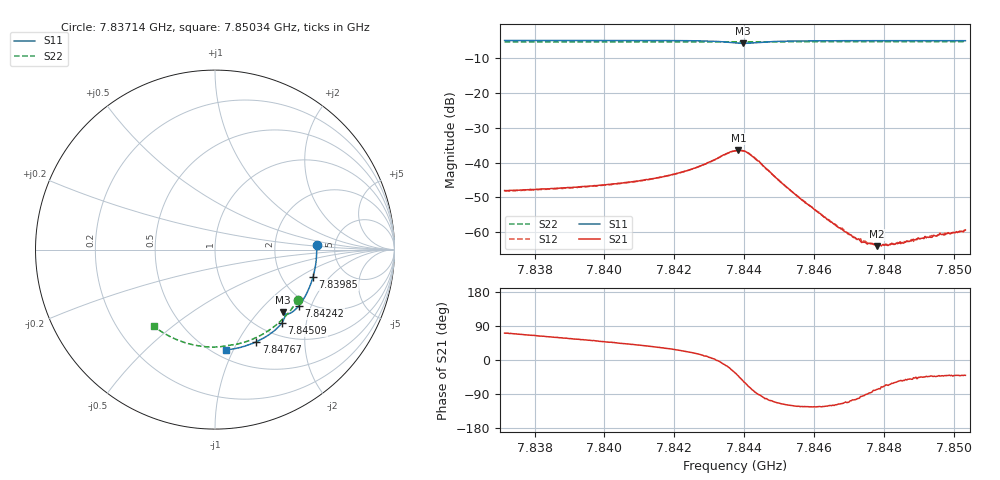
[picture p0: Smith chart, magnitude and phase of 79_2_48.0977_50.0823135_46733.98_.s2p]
#  HZ  S  RI  R  50.00
! Rohde & Schwarz Vector Network Analyzer
! Rohde-Schwarz,ZNB20-2Port,1311601062101988,3.16
! Created: UTC 12/23/2023, 3:42:34 AM
! freq[Hz]  re:S11  im:S11  re:S21  im:S21  re:S12  im:S12  re:S22  im:S22
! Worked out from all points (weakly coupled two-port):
!   401 points, 7.83714 GHz to 7.85034 GHz, reference 50 ohm
!   highest |S21| = -36.46 dB at 7.84384 GHz (marker M1); lowest = -64.0 dB at 7.8478 GHz (marker M2)
!   lowest |S11| = -5.8 dB at 7.84397 GHz (marker M3), VSWR 3.13, Z = 72.4 - j68.8 ohm
!   |S11| at or under -10 dB: nowhere
!   |S22| runs from -5.4 to -5.3 dB; largest |S21 - S12| = 0.00036
!   S11 on the Smith chart (normalised r, x): 7.83714 GHz: 3.59, +0.27; 7.83985 GHz: 2.96, -1.33; 7.84242 GHz: 1.79, -1.64; 7.84509 GHz: 1.24, -1.46; 7.84767 GHz: 0.80, -1.20; 7.85034 GHz: 0.57, -0.93
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7.837139e9  0.5657 0.026  0.0013 0.00375  0.0013 0.0037  0.4621 -0.2787
7.83935e9  0.5541 -0.1205  0.00268 0.00364  0.00264 0.00357  0.3649 -0.3988
7.839845e9  0.546 -0.1528  0.00308 0.00359  0.00303 0.00358  0.3386 -0.4214
7.841561e9  0.5017 -0.2613  0.00512 0.00337  0.00504 0.00335  0.2375 -0.4865
7.842419e9  0.4673 -0.3129  0.0073 0.00281  0.00726 0.00283  0.1819 -0.51
7.843244e9  0.4183 -0.3547  0.0115 -0.000338  0.0115 -0.000255  0.1261 -0.5258
7.843739e9  0.383 -0.3562  0.0123 -0.0082  0.0122 -0.00816  0.0928 -0.5311
7.843838e9  0.3794 -0.3529  0.0111 -0.0101  0.011 -0.0102  0.0866 -0.5318
7.84397e9  0.3789 -0.3491  0.00844 -0.0121  0.00849 -0.012  0.0782 -0.5334
7.844102e9  0.382 -0.3482  0.00524 -0.0128  0.00539 -0.0128  0.0701 -0.535
7.844267e9  0.387 -0.353  0.00193 -0.0119  0.00188 -0.012  0.0593 -0.5369
7.845091e9  0.3733 -0.4074  -0.00221 -0.0045  -0.00216 -0.00451  0.00181 -0.5427
7.845949e9  0.3303 -0.4521  -0.00126 -0.00187  -0.00127 -0.0019  -0.0587 -0.5406
7.846543e9  0.2971 -0.4767  -0.000651 -0.00118  -0.000652 -0.00118  -0.1001 -0.5349
7.84717e9  0.2605 -0.4986  -0.000212 -0.00081  -0.000222 -0.000817  -0.1431 -0.5254
7.847401e9  0.2466 -0.5058  -6.02e-05 -0.000721  -0.000112 -0.000775  -0.1587 -0.521
7.847665e9  0.2303 -0.5136  7.11e-05 -0.000691  5.45e-05 -0.000675  -0.1765 -0.5154
7.847797e9  0.2222 -0.5172  0.000135 -0.000617  0.000112 -0.000627  -0.1853 -0.5125
7.84816e9  0.1996 -0.5264  0.000284 -0.000602  0.000272 -0.000596  -0.2091 -0.5034
7.848688e9  0.1663 -0.5378  0.000474 -0.00058  0.000441 -0.000588  -0.2429 -0.4883
7.849414e9  0.1195 -0.5501  0.000644 -0.00061  0.000645 -0.000616  -0.2875 -0.4639
7.850338e9  0.0586 -0.5594  0.000821 -0.000702  0.000809 -0.000686  -0.3407 -0.4271
